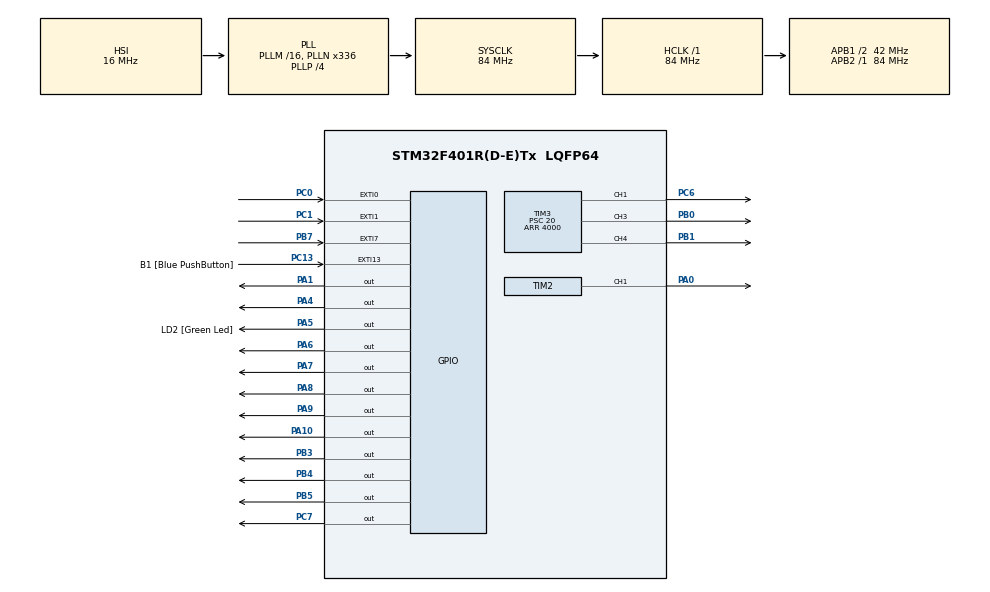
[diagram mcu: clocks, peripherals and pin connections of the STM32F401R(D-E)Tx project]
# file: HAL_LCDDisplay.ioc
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Mcu.Family=STM32F4
Mcu.Name=STM32F401R(D-E)Tx
Mcu.Package=LQFP64
NVIC.EXTI0_IRQn=true\:0\:0\:false\:false\:true\:true\:true\:true
NVIC.EXTI15_10_IRQn=true\:0\:0\:false\:false\:true\:true\:true\:true
NVIC.EXTI1_IRQn=true\:0\:0\:false\:false\:true\:true\:true\:true
NVIC.EXTI9_5_IRQn=true\:0\:0\:false\:false\:true\:true\:true\:true
NVIC.PriorityGroup=NVIC_PRIORITYGROUP_0
PA0-WKUP.Signal=S_TIM2_CH1_ETR
PA1.Signal=GPIO_Output
PA10.Signal=GPIO_Output
PA13.GPIO_Label=TMS
PA13.Signal=SYS_JTMS-SWDIO
PA14.GPIO_Label=TCK
PA14.Signal=SYS_JTCK-SWCLK
PA4.Signal=GPIO_Output
PA5.GPIO_Label=LD2 [Green Led]
PA5.GPIO_Mode=GPIO_MODE_OUTPUT_PP
PA5.GPIO_PuPd=GPIO_NOPULL
PA5.GPIO_Speed=GPIO_SPEED_FREQ_LOW
PA5.Signal=GPIO_Output
PA6.Signal=GPIO_Output
PA7.Signal=GPIO_Output
PA8.Signal=GPIO_Output
PA9.Signal=GPIO_Output
PB0.Signal=S_TIM3_CH3
PB1.Signal=S_TIM3_CH4
PB3.Signal=GPIO_Output
PB4.Signal=GPIO_Output
PB5.Signal=GPIO_Output
PB7.Signal=GPXTI7
PC0.Signal=GPXTI0
PC1.Signal=GPXTI1
PC13-ANTI_TAMP.GPIO_Label=B1 [Blue PushButton]
PC13-ANTI_TAMP.GPIO_ModeDefaultEXTI=GPIO_MODE_IT_FALLING
PC13-ANTI_TAMP.GPIO_PuPd=GPIO_NOPULL
PC13-ANTI_TAMP.Signal=GPXTI13
PC14-OSC32_IN.Signal=RCC_OSC32_IN
PC15-OSC32_OUT.Signal=RCC_OSC32_OUT
PC6.Signal=S_TIM3_CH1
PC7.Signal=GPIO_Output
PH0\ -\ OSC_IN.Signal=RCC_OSC_IN
PH1\ -\ OSC_OUT.Signal=RCC_OSC_OUT
ProjectManager.HeapSize=0x200
ProjectManager.StackSize=0x400
ProjectManager.TargetToolchain=STM32CubeIDE
RCC.AHBFreq_Value=84000000
RCC.APB1CLKDivider=RCC_HCLK_DIV2
RCC.APB1Freq_Value=42000000
RCC.APB1TimFreq_Value=84000000
RCC.APB2Freq_Value=84000000
RCC.APB2TimFreq_Value=84000000
RCC.CortexFreq_Value=84000000
RCC.HCLKFreq_Value=84000000
RCC.HSE_VALUE=8000000
RCC.HSI_VALUE=16000000
RCC.LSE_VALUE=32768
RCC.PLLN=336
RCC.PLLP=RCC_PLLP_DIV4
RCC.PLLQ=7
RCC.SYSCLKFreq_VALUE=84000000
RCC.SYSCLKSource=RCC_SYSCLKSOURCE_PLLCLK
RCC.VCOOutputFreq_Value=336000000
SH.S_TIM2_CH1_ETR.0=TIM2_CH1,PWM Generation1 CH1
SH.S_TIM3_CH1.0=TIM3_CH1,PWM Generation1 CH1
SH.S_TIM3_CH3.0=TIM3_CH3,PWM Generation3 CH3
SH.S_TIM3_CH4.0=TIM3_CH4,PWM Generation4 CH4
TIM2.AutoReloadPreload=TIM_AUTORELOAD_PRELOAD_ENABLE
TIM2.Channel-PWM\ Generation1\ CH1=TIM_CHANNEL_1
TIM2.Period=4000
TIM2.Prescaler=20
TIM2.Pulse-PWM\ Generation1\ CH1=0
TIM3.Channel-PWM\ Generation1\ CH1=TIM_CHANNEL_1
TIM3.Channel-PWM\ Generation3\ CH3=TIM_CHANNEL_3
TIM3.Channel-PWM\ Generation4\ CH4=TIM_CHANNEL_4
TIM3.Period=4000
TIM3.Prescaler=20
TIM3.Pulse-PWM\ Generation1\ CH1=0
TIM3.Pulse-PWM\ Generation3\ CH3=0
TIM3.Pulse-PWM\ Generation4\ CH4=0
board=NUCLEO-F401RE

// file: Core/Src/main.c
/* USER CODE BEGIN Header */
/**
  ******************************************************************************
  * @file           : main.c
  * @brief          : Main program body
  ******************************************************************************
  * @attention
  *
  * Copyright (c) 2023 STMicroelectronics.
  * All rights reserved.
  *
  * This software is licensed under terms that can be found in the LICENSE file
  * in the root directory of this software component.
  * If no LICENSE file comes with this software, it is provided AS-IS.
  *
  ******************************************************************************
  */
/* USER CODE END Header */
#include "main.h"

/* USER CODE BEGIN Includes */
#include "LCD_Lib.h"
#include "menu_Lib.h"
#include "string.h"
#include "stdio.h"
/* USER CODE END Includes */

TIM_HandleTypeDef htim2;
TIM_HandleTypeDef htim3;

/* USER CODE BEGIN PV */
extern uint8_t button = 0;
/* USER CODE END PV */

void SystemClock_Config(void);
static void MX_GPIO_Init(void);
static void MX_TIM2_Init(void);
static void MX_TIM3_Init(void);

int main(void)
{

  /* MCU Configuration--------------------------------------------------------*/

  /* Reset of all peripherals, Initializes the Flash interface and the Systick. */
  HAL_Init();

  /* Configure the system clock */
  SystemClock_Config();

  /* Initialize all configured peripherals */
  MX_GPIO_Init();
  MX_TIM2_Init();
  MX_TIM3_Init();

  /* Infinite loop */
  /* USER CODE BEGIN WHILE */
//  HAL_GPIO_WritePin(MANAGE_PORT, RW, 1);
//  HAL_GPIO_WritePin(MANAGE_PORT, RS, 1);

//  HAL_GPIO_WritePin(GPIOB, GPIO_PIN_5, 1);//because pin is invert
  HAL_TIM_PWM_Start(&htim2, TIM_CHANNEL_1);

  HAL_TIM_PWM_Start(&htim3, TIM_CHANNEL_3);
  HAL_TIM_PWM_Start(&htim3, TIM_CHANNEL_4);
  HAL_TIM_PWM_Start(&htim3, TIM_CHANNEL_1);

  init_8bit_interface();
  displayControl(CURSOR_BLINK_OFF & CURSOR_OFF);
  HAL_Delay(10);

 // struct MenuItem *change_item;

  struct MenuItem MainMenu, led[4], subLed0[4],
                                    subLed1[4],
									subLed2[4],
									subLed3[4];

  	  MainMenu.name[10] = 0;
  	  MainMenu.text[10] = 0;
  	  MainMenu.ddram_name = 0;
  	  MainMenu.ddram_text = 0;
  	  MainMenu.subItem = led;
  	  MainMenu.parentalItem = NULL;
  	  MainMenu.navigation_list = NULL;
  	  MainMenu.itemFunction = writeMainMenu;

  	  	  led[0].PWM_lvl = 0;
  		  sprintf(led[0].name, " Ld1:");
  		  sprintf(led[0].text, " Ld1:%d", led[0].PWM_lvl);
  		  led[0].ddram_name = 0x00;
  		  led[0].ddram_text = 0;
  		  led[0].state_item = CHOOSED_LED;
  		  led[0].subItem = &subLed0[0];
  		  led[0].parentalItem = NULL;
  		  led[0].navigation_list = &led[1];
  		  led[0].itemFunction = writeSubLedMenu;
  		  led[0].PWM_Reg = &(TIM2->CCR1);

  		  	  strcpy(subLed0[0].name, (const char*)" -");
  		      sprintf(subLed0[0].text, "%s", led[0].name);
			  subLed0[0].ddram_name = 0x44;
			  subLed0[0].ddram_text = 0x00;
			  subLed0[0].state_item = MINUS;
			  subLed0[0].PWM_lvl = 0;
			  subLed0[0].subItem = &led[0];
			  subLed0[0].parentalItem = &MainMenu;
			  subLed0[0].navigation_list = &subLed0[1];
			  subLed0[0].itemFunction = reWrite;

			  strcpy(subLed0[1].name, (const char*)" +");
			  sprintf(subLed0[1].text, "%s", led[0].name);
			  subLed0[1].ddram_name = 0x48;
			  subLed0[1].ddram_text = 0x00;
			  subLed0[1].state_item = PLUS;
			  subLed0[1].PWM_lvl = 0;
			  subLed0[1].subItem = &led[0];
			  subLed0[1].parentalItem = &MainMenu;
			  subLed0[1].navigation_list = &subLed0[2];
			  subLed0[1].itemFunction = reWrite;

  			  strcpy(subLed0[2].name, (const char*)" SET");
  			  strcpy(subLed0[2].text, led[0].name);
  			  subLed0[2].ddram_name = 0x0B;
  			  subLed0[2].ddram_text = 0x00;
  			  subLed0[2].state_item = SET_V;
  			  subLed0[2].PWM_lvl = 0;
  			  subLed0[2].subItem = &led[0];
  			  subLed0[2].parentalItem = &MainMenu;
  			  subLed0[2].navigation_list = &subLed0[3];

  			  strcpy(subLed0[3].name, (const char*)" BACK");
  			  strcpy(subLed0[3].text, led[0].name);
  			  subLed0[3].ddram_name = 0x4B;
  			  subLed0[3].ddram_text = 0x00;
  			  subLed0[3].state_item = BACK;
  			  subLed0[3].PWM_lvl = 0;
  			  subLed0[3].subItem = &led[0];
  			  subLed0[3].parentalItem = &MainMenu;
  			  subLed0[3].navigation_list = &subLed0[0];
  			  subLed0[3].itemFunction = backFunc;

  		  led[1].PWM_lvl = 0;
  		  sprintf(led[1].name, " Ld2:");
  		  sprintf(led[1].text, " Ld2:%d", led[1].PWM_lvl);
  		  led[1].ddram_name = 0x08;
  		  led[1].ddram_text = 0;
  		  led[1].state_item = CHOOSED_LED;
  		  led[1].subItem = &subLed1[0];
  		  led[1].parentalItem = &MainMenu;
  		  led[1].navigation_list = &led[2];
  		  led[1].itemFunction = writeSubLedMenu;
  		  led[1].PWM_Reg = &(TIM3->CCR3);

  		  	  strcpy(subLed1[0].name, (const char*)" -");
  		  	  sprintf(subLed1[0].text, "%s", led[1].name);
			  subLed1[0].ddram_name = 0x44;
			  subLed1[0].ddram_text = 0x00;
			  subLed1[0].state_item = MINUS;
			  subLed1[0].PWM_lvl = 0;
			  subLed1[0].subItem = &led[1];
			  subLed1[0].parentalItem = &MainMenu;
			  subLed1[0].navigation_list = &subLed1[1];
			  subLed1[0].itemFunction = reWrite;

			  strcpy(subLed1[1].name, (const char*)" +");
			  sprintf(subLed1[1].text, "%s", led[1].name);
			  subLed1[1].ddram_name = 0x48;
			  subLed1[1].ddram_text = 0x00;
			  subLed1[1].state_item = PLUS;
			  subLed1[1].PWM_lvl = 0;
			  subLed1[1].subItem = &led[1];
			  subLed1[1].parentalItem = &MainMenu;
			  subLed1[1].navigation_list = &subLed1[2];
			  subLed1[1].itemFunction = reWrite;

			  strcpy(subLed1[2].name, (const char*)" SET");
			  strcpy(subLed1[2].text, led[1].name);
			  subLed1[2].ddram_name = 0x0B;
			  subLed1[2].ddram_text = 0x00;
			  subLed1[2].state_item = SET_V;
			  subLed1[2].PWM_lvl = 0;
			  subLed1[2].subItem = &led[1];
			  subLed1[2].parentalItem = &MainMenu;
			  subLed1[2].navigation_list = &subLed1[3];

			  strcpy(subLed1[3].name, (const char*)" BACK");
			  strcpy(subLed1[3].text, led[1].name);
			  subLed1[3].ddram_name = 0x4B;
			  subLed1[3].ddram_text = 0x00;
			  subLed1[3].state_item = BACK;
			  subLed1[3].PWM_lvl = 0;
			  subLed1[3].subItem = &led[1];
			  subLed1[3].parentalItem = &MainMenu;
			  subLed1[3].navigation_list = &subLed1[0];
			  subLed1[3].itemFunction = backFunc;

		  led[2].PWM_lvl = 0;
    	  sprintf(led[2].name, " Ld3:");
		  sprintf(led[2].text, " Ld3:%d", led[2].PWM_lvl);
  		  led[2].ddram_name = 0x40;
  		  led[2].ddram_text = 0;
  		  led[2].state_item = CHOOSED_LED;
  		  led[2].subItem = &subLed2[0];
  		  led[2].parentalItem = &MainMenu;
  		  led[2].navigation_list = &led[3];
  		  led[2].itemFunction = writeSubLedMenu;
  		  led[2].PWM_Reg = &(TIM3->CCR4);

  		  	  strcpy(subLed2[0].name, (const char*)" -");
  		  	  sprintf(subLed2[0].text, "%s", led[2].name);
			  subLed2[0].ddram_name = 0x44;
			  subLed2[0].ddram_text = 0x00;
			  subLed2[0].state_item = MINUS;
			  subLed2[0].PWM_lvl = 0;
			  subLed2[0].subItem = &led[2];
			  subLed2[0].parentalItem = &MainMenu;
			  subLed2[0].navigation_list = &subLed2[1];
			  subLed2[0].itemFunction = reWrite;

			  strcpy(subLed2[1].name, (const char*)" +");
			  sprintf(subLed2[1].text, "%s", led[2].name);
			  subLed2[1].ddram_name = 0x48;
			  subLed2[1].ddram_text = 0x00;
			  subLed2[1].state_item = PLUS;
			  subLed2[1].PWM_lvl = 0;
			  subLed2[1].subItem = &led[2];
			  subLed2[1].parentalItem = &MainMenu;
			  subLed2[1].navigation_list = &subLed2[2];
			  subLed2[1].itemFunction = reWrite;

			  strcpy(subLed2[2].name, (const char*)" SET");
			  strcpy(subLed2[2].text, led[2].name);
			  subLed2[2].ddram_name = 0x0B;
			  subLed2[2].ddram_text = 0x00;
			  subLed2[2].state_item = SET_V;
			  subLed2[2].PWM_lvl = 0;
			  subLed2[2].subItem = &led[2];
			  subLed2[2].parentalItem = &MainMenu;
			  subLed2[2].navigation_list = &subLed2[3];

			  strcpy(subLed2[3].name, (const char*)" BACK");
			  strcpy(subLed2[3].text, led[2].name);
			  subLed2[3].ddram_name = 0x4B;
			  subLed2[3].ddram_text = 0x00;
			  subLed2[3].state_item = BACK;
			  subLed2[3].PWM_lvl = 0;
			  subLed2[3].subItem = &led[2];
			  subLed2[3].parentalItem = &MainMenu;
			  subLed2[3].navigation_list = &subLed2[0];
			  subLed2[3].itemFunction = backFunc;

		  led[3].PWM_lvl = 0;
		  sprintf(led[3].name, " Ld4:");
		  sprintf(led[3].text, " Ld4:%d", led[3].PWM_lvl);
  		  led[3].ddram_name = 0x48;
  		  led[3].ddram_text = 0;
  		  led[3].state_item = CHOOSED_LED;
  		  led[3].subItem = &subLed3[0];
  		  led[3].parentalItem = &MainMenu;
  		  led[3].navigation_list = &led[0];
  		  led[3].itemFunction = writeSubLedMenu;
  		  led[3].PWM_Reg = &(TIM3->CCR1);

  		  	  strcpy(subLed3[0].name, (const char*)" -");
			  sprintf(subLed3[0].text, "%s", led[3].name);
			  subLed3[0].ddram_name = 0x44;
			  subLed3[0].ddram_text = 0x00;
			  subLed3[0].state_item = MINUS;
			  subLed3[0].PWM_lvl = 0;
			  subLed3[0].subItem = &led[3];
			  subLed3[0].parentalItem = &MainMenu;
			  subLed3[0].navigation_list = &subLed3[1];
			  subLed3[0].itemFunction = reWrite;

			  strcpy(subLed3[1].name, (const char*)" +");
			  sprintf(subLed3[1].text, "%s", led[3].name);
			  subLed3[1].ddram_name = 0x48;
			  subLed3[1].ddram_text = 0x00;
			  subLed3[1].state_item = PLUS;
			  subLed3[1].PWM_lvl = 0;
			  subLed3[1].subItem = &led[3];
			  subLed3[1].parentalItem = &MainMenu;
			  subLed3[1].navigation_list = &subLed3[2];
			  subLed3[1].itemFunction = reWrite;

			  strcpy(subLed3[2].name, (const char*)" SET");
			  strcpy(subLed3[2].text, led[3].name);
			  subLed3[2].ddram_name = 0x0B;
			  subLed3[2].ddram_text = 0x00;
			  subLed3[2].state_item = SET_V;
			  subLed3[2].PWM_lvl = 0;
			  subLed3[2].subItem = &led[3];
			  subLed3[2].parentalItem = &MainMenu;
			  subLed3[2].navigation_list = &subLed3[3];

			  strcpy(subLed3[3].name, (const char*)" BACK");
			  strcpy(subLed3[3].text, led[3].name);
			  subLed3[3].ddram_name = 0x4B;
			  subLed3[3].ddram_text = 0x00;
			  subLed3[3].state_item = BACK;
			  subLed3[3].PWM_lvl = 0;
			  subLed3[3].subItem = &led[3];
			  subLed3[3].parentalItem = &MainMenu;
			  subLed3[3].navigation_list = &subLed3[0];
			  subLed3[3].itemFunction = backFunc;

  MainMenu.itemFunction(led, NULL);

  const struct MenuItem *current_item = &led[0],
		  	  	        *previous_item = NULL;

  uint8_t PWM = 70;

  setCursor(current_item);
/*
  *(led[0].PWM_Reg) = 100;
  TIM3->CCR1 = 3999;
  TIM3->CCR3 = 0;
  TIM3->CCR4 = 100;
*/
  while (1)
  {
	 switch(button)
	 {
	 case CHANGE:
		 button = 0;

		 previous_item = current_item;

		 switchCursor(previous_item, previous_item->navigation_list);

		 current_item = previous_item->navigation_list;

		 break;

	 case SELECT:
		 button = 0;

		 switch(current_item->state_item)
		 {
		 case CHOOSED_LED:

			 PWM = current_item->PWM_lvl;

			 current_item = current_item->itemFunction(current_item->subItem, NULL);
	//		 PWM = current_item->PWM_lvl;

			 break;

		 case SET_V:

			 current_item->subItem->PWM_lvl = PWM;

			 *(current_item->subItem->PWM_Reg) = ((4000 * current_item->subItem->PWM_lvl) / 100);
//			 current_item->subItem->PWM_Reg = ((4000 * current_item->subItem->PWM_lvl) / 100);

			 sprintf(current_item->subItem->text, "%s%d", current_item->subItem->name, current_item->subItem->PWM_lvl);

//			 current_item = current_item->itemFunction(current_item->parentalItem, NULL);
			 current_item = backFunc(current_item->parentalItem);

			 break;

		 case BACK:

			 current_item = current_item->itemFunction(current_item->parentalItem, NULL);
//			 current_item = backFunc(current_item->parentalItem);

			 break;

		 case MINUS:

			 if(PWM == 100)
			 {
				 clearChar(0x07);
			 }

			 PWM -= 5;

			 if(PWM > 100)
			 {
				 PWM = 0;
			 }

			 reWrite(current_item, &PWM);

			 if(PWM < 10)
			 {
				 clearChar(0x06);
			 }

			 break;

		 case PLUS:

			 if(PWM == 0)
			 {
				 clearChar(0x06);
			 }

			 PWM += 5;

			 if(PWM > 100)
			 {
				 PWM = 100;
			 }

			 reWrite(current_item, &PWM);

			 break;

		 }

	 }

    /* USER CODE END WHILE */

  }
}

void SystemClock_Config(void)
{
  RCC_OscInitTypeDef RCC_OscInitStruct = {0};
  RCC_ClkInitTypeDef RCC_ClkInitStruct = {0};

  /** Configure the main internal regulator output voltage
  */
  __HAL_RCC_PWR_CLK_ENABLE();
  __HAL_PWR_VOLTAGESCALING_CONFIG(PWR_REGULATOR_VOLTAGE_SCALE2);

  /** Initializes the RCC Oscillators according to the specified parameters
  * in the RCC_OscInitTypeDef structure.
  */
  RCC_OscInitStruct.OscillatorType = RCC_OSCILLATORTYPE_HSI;
  RCC_OscInitStruct.HSIState = RCC_HSI_ON;
  RCC_OscInitStruct.HSICalibrationValue = RCC_HSICALIBRATION_DEFAULT;
  RCC_OscInitStruct.PLL.PLLState = RCC_PLL_ON;
  RCC_OscInitStruct.PLL.PLLSource = RCC_PLLSOURCE_HSI;
  RCC_OscInitStruct.PLL.PLLM = 16;
  RCC_OscInitStruct.PLL.PLLN = 336;
  RCC_OscInitStruct.PLL.PLLP = RCC_PLLP_DIV4;
  RCC_OscInitStruct.PLL.PLLQ = 7;
  if (HAL_RCC_OscConfig(&RCC_OscInitStruct) != HAL_OK)
  {
    Error_Handler();
  }

  /** Initializes the CPU, AHB and APB buses clocks
  */
  RCC_ClkInitStruct.ClockType = RCC_CLOCKTYPE_HCLK|RCC_CLOCKTYPE_SYSCLK
                              |RCC_CLOCKTYPE_PCLK1|RCC_CLOCKTYPE_PCLK2;
  RCC_ClkInitStruct.SYSCLKSource = RCC_SYSCLKSOURCE_PLLCLK;
  RCC_ClkInitStruct.AHBCLKDivider = RCC_SYSCLK_DIV1;
  RCC_ClkInitStruct.APB1CLKDivider = RCC_HCLK_DIV2;
  RCC_ClkInitStruct.APB2CLKDivider = RCC_HCLK_DIV1;

  if (HAL_RCC_ClockConfig(&RCC_ClkInitStruct, FLASH_LATENCY_2) != HAL_OK)
  {
    Error_Handler();
  }
}

static void MX_TIM2_Init(void)
{

  TIM_MasterConfigTypeDef sMasterConfig = {0};
  TIM_OC_InitTypeDef sConfigOC = {0};

  htim2.Instance = TIM2;
  htim2.Init.Prescaler = 20;
  htim2.Init.CounterMode = TIM_COUNTERMODE_UP;
  htim2.Init.Period = 4000;
  htim2.Init.ClockDivision = TIM_CLOCKDIVISION_DIV1;
  htim2.Init.AutoReloadPreload = TIM_AUTORELOAD_PRELOAD_ENABLE;
  if (HAL_TIM_PWM_Init(&htim2) != HAL_OK)
  {
    Error_Handler();
  }
  sMasterConfig.MasterOutputTrigger = TIM_TRGO_RESET;
  sMasterConfig.MasterSlaveMode = TIM_MASTERSLAVEMODE_DISABLE;
  if (HAL_TIMEx_MasterConfigSynchronization(&htim2, &sMasterConfig) != HAL_OK)
  {
    Error_Handler();
  }
  sConfigOC.OCMode = TIM_OCMODE_PWM1;
  sConfigOC.Pulse = 0;
  sConfigOC.OCPolarity = TIM_OCPOLARITY_HIGH;
  sConfigOC.OCFastMode = TIM_OCFAST_DISABLE;
  if (HAL_TIM_PWM_ConfigChannel(&htim2, &sConfigOC, TIM_CHANNEL_1) != HAL_OK)
  {
    Error_Handler();
  }
  HAL_TIM_MspPostInit(&htim2);

}

static void MX_TIM3_Init(void)
{

  TIM_MasterConfigTypeDef sMasterConfig = {0};
  TIM_OC_InitTypeDef sConfigOC = {0};

  htim3.Instance = TIM3;
  htim3.Init.Prescaler = 20;
  htim3.Init.CounterMode = TIM_COUNTERMODE_UP;
  htim3.Init.Period = 4000;
  htim3.Init.ClockDivision = TIM_CLOCKDIVISION_DIV1;
  htim3.Init.AutoReloadPreload = TIM_AUTORELOAD_PRELOAD_DISABLE;
  if (HAL_TIM_PWM_Init(&htim3) != HAL_OK)
  {
    Error_Handler();
  }
  sMasterConfig.MasterOutputTrigger = TIM_TRGO_RESET;
  sMasterConfig.MasterSlaveMode = TIM_MASTERSLAVEMODE_DISABLE;
  if (HAL_TIMEx_MasterConfigSynchronization(&htim3, &sMasterConfig) != HAL_OK)
  {
    Error_Handler();
  }
  sConfigOC.OCMode = TIM_OCMODE_PWM1;
  sConfigOC.Pulse = 0;
  sConfigOC.OCPolarity = TIM_OCPOLARITY_HIGH;
  sConfigOC.OCFastMode = TIM_OCFAST_DISABLE;
  if (HAL_TIM_PWM_ConfigChannel(&htim3, &sConfigOC, TIM_CHANNEL_1) != HAL_OK)
  {
    Error_Handler();
  }
  if (HAL_TIM_PWM_ConfigChannel(&htim3, &sConfigOC, TIM_CHANNEL_3) != HAL_OK)
  {
    Error_Handler();
  }
  if (HAL_TIM_PWM_ConfigChannel(&htim3, &sConfigOC, TIM_CHANNEL_4) != HAL_OK)
  {
    Error_Handler();
  }
  HAL_TIM_MspPostInit(&htim3);

}

static void MX_GPIO_Init(void)
{
  GPIO_InitTypeDef GPIO_InitStruct = {0};

  /* GPIO Ports Clock Enable */
  __HAL_RCC_GPIOC_CLK_ENABLE();
  __HAL_RCC_GPIOH_CLK_ENABLE();
  __HAL_RCC_GPIOA_CLK_ENABLE();
  __HAL_RCC_GPIOB_CLK_ENABLE();

  /*Configure GPIO pin Output Level */
  HAL_GPIO_WritePin(GPIOA, GPIO_PIN_1|GPIO_PIN_4|LD2_Pin|GPIO_PIN_6
                          |GPIO_PIN_7|GPIO_PIN_8|GPIO_PIN_9|GPIO_PIN_10, GPIO_PIN_RESET);

  /*Configure GPIO pin Output Level */
  HAL_GPIO_WritePin(GPIOC, GPIO_PIN_7, GPIO_PIN_RESET);

  /*Configure GPIO pin Output Level */
  HAL_GPIO_WritePin(GPIOB, GPIO_PIN_3|GPIO_PIN_4|GPIO_PIN_5, GPIO_PIN_RESET);

  /*Configure GPIO pin : B1_Pin */
  GPIO_InitStruct.Pin = B1_Pin;
  GPIO_InitStruct.Mode = GPIO_MODE_IT_FALLING;
  GPIO_InitStruct.Pull = GPIO_NOPULL;
  HAL_GPIO_Init(B1_GPIO_Port, &GPIO_InitStruct);

  /*Configure GPIO pins : PC0 PC1 */
  GPIO_InitStruct.Pin = GPIO_PIN_0|GPIO_PIN_1;
  GPIO_InitStruct.Mode = GPIO_MODE_IT_RISING;
  GPIO_InitStruct.Pull = GPIO_NOPULL;
  HAL_GPIO_Init(GPIOC, &GPIO_InitStruct);

  /*Configure GPIO pins : PA1 PA4 LD2_Pin PA6
                           PA7 PA8 PA9 PA10 */
  GPIO_InitStruct.Pin = GPIO_PIN_1|GPIO_PIN_4|LD2_Pin|GPIO_PIN_6
                          |GPIO_PIN_7|GPIO_PIN_8|GPIO_PIN_9|GPIO_PIN_10;
  GPIO_InitStruct.Mode = GPIO_MODE_OUTPUT_PP;
  GPIO_InitStruct.Pull = GPIO_NOPULL;
  GPIO_InitStruct.Speed = GPIO_SPEED_FREQ_LOW;
  HAL_GPIO_Init(GPIOA, &GPIO_InitStruct);

  /*Configure GPIO pin : PC7 */
  GPIO_InitStruct.Pin = GPIO_PIN_7;
  GPIO_InitStruct.Mode = GPIO_MODE_OUTPUT_PP;
  GPIO_InitStruct.Pull = GPIO_NOPULL;
  GPIO_InitStruct.Speed = GPIO_SPEED_FREQ_LOW;
  HAL_GPIO_Init(GPIOC, &GPIO_InitStruct);

  /*Configure GPIO pins : PB3 PB4 PB5 */
  GPIO_InitStruct.Pin = GPIO_PIN_3|GPIO_PIN_4|GPIO_PIN_5;
  GPIO_InitStruct.Mode = GPIO_MODE_OUTPUT_PP;
  GPIO_InitStruct.Pull = GPIO_NOPULL;
  GPIO_InitStruct.Speed = GPIO_SPEED_FREQ_LOW;
  HAL_GPIO_Init(GPIOB, &GPIO_InitStruct);

  /*Configure GPIO pin : PB7 */
  GPIO_InitStruct.Pin = GPIO_PIN_7;
  GPIO_InitStruct.Mode = GPIO_MODE_IT_RISING;
  GPIO_InitStruct.Pull = GPIO_NOPULL;
  HAL_GPIO_Init(GPIOB, &GPIO_InitStruct);

  /* EXTI interrupt init*/
  HAL_NVIC_SetPriority(EXTI0_IRQn, 0, 0);
  HAL_NVIC_EnableIRQ(EXTI0_IRQn);

  HAL_NVIC_SetPriority(EXTI1_IRQn, 0, 0);
  HAL_NVIC_EnableIRQ(EXTI1_IRQn);

  HAL_NVIC_SetPriority(EXTI9_5_IRQn, 0, 0);
  HAL_NVIC_EnableIRQ(EXTI9_5_IRQn);

  HAL_NVIC_SetPriority(EXTI15_10_IRQn, 0, 0);
  HAL_NVIC_EnableIRQ(EXTI15_10_IRQn);

}

void Error_Handler(void)
{
  __disable_irq();
  while (1)
  {
  }
}
